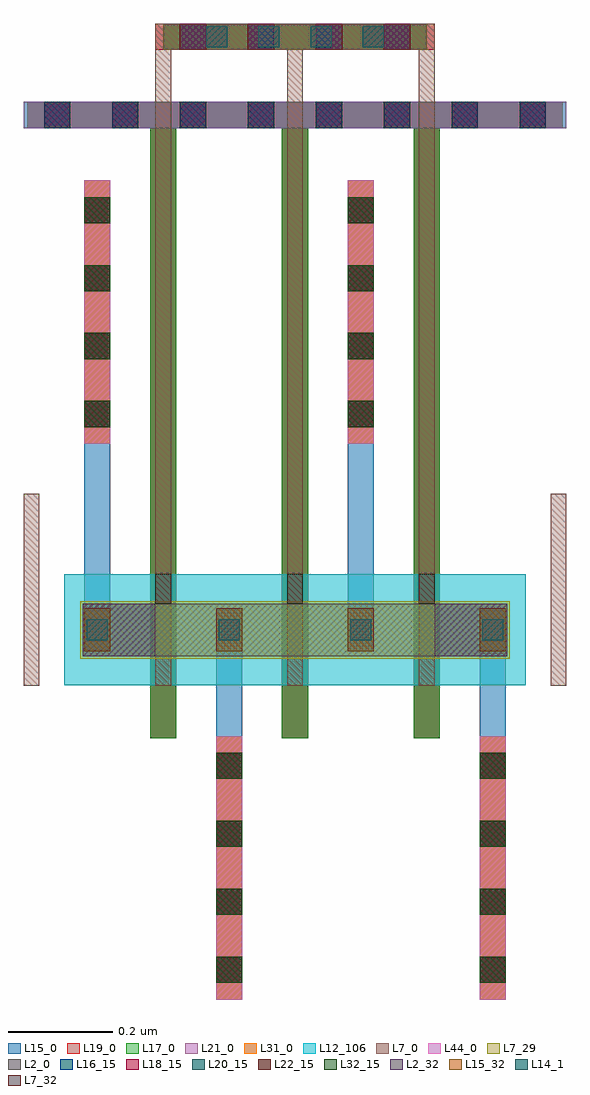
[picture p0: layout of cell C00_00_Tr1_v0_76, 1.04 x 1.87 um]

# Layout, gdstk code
import gdstk
lib = gdstk.Library(unit=1e-6, precision=1e-09)
def R(c, l, rs):  # rectangles x0, y0, x1, y1
    for r in rs: c.add(gdstk.rectangle(r[:2], r[2:], *l))
def A(c, l, x, y, w, h, nx, ny, dx, dy):  # array of equal rectangles
    R(c, l, [(x+i*dx, y+j*dy, x+i*dx+w, y+j*dy+h) for i in range(nx) for j in range(ny)])
L2_0 = (2, 0)
L2_32 = (2, 32)
L7_0 = (7, 0)
L7_29 = (7, 29)
L7_32 = (7, 32)
L12_106 = (12, 106)
L14_1 = (14, 1)
L15_0 = (15, 0)
L15_32 = (15, 32)
L16_15 = (16, 15)
L17_0 = (17, 0)
L18_15 = (18, 15)
L19_0 = (19, 0)
L20_15 = (20, 15)
L21_0 = (21, 0)
L22_15 = (22, 15)
L31_0 = (31, 0)
L32_15 = (32, 15)
L44_0 = (44, 0)

c00_00_tr1_v0_76_srf_nmo = lib.new_cell('C00_00_Tr1_v0_76:SRF_Nmos')
R(c00_00_tr1_v0_76_srf_nmo, L2_0, [(-0.139,0.057,0.673,0.157)])
R(c00_00_tr1_v0_76_srf_nmo, L2_32, [(-0.139,0.057,0,0.157), (0.534,0.057,0.673,0.157)])
A(c00_00_tr1_v0_76_srf_nmo, L7_0, 0, 0, 0.03, 0.214, 3, 1, 0.252, 0)
R(c00_00_tr1_v0_76_srf_nmo, L7_0, [(-0.252,0,-0.222,0.367), (0.756,0,0.786,0.367)])
R(c00_00_tr1_v0_76_srf_nmo, L7_29, [(-0.144,0.052,0.678,0.162)])
A(c00_00_tr1_v0_76_srf_nmo, L7_32, 0, 0.157, 0.03, 0.057, 3, 1, 0.252, 0)
R(c00_00_tr1_v0_76_srf_nmo, L12_106, [(-0.174,0.001,0.708,0.213)])
A(c00_00_tr1_v0_76_srf_nmo, L14_1, -0.131, 0.087, 0.04, 0.04, 4, 1, 0.252, 0)
R(c00_00_tr1_v0_76_srf_nmo, L15_0, [(-0.136,0.066,-0.086,0.148), (-0.136,0.066,-0.086,0.148), (0.116,0.066,0.166,0.148), (0.116,0.066,0.166,0.148), (0.368,0.066,0.418,0.148), (0.368,0.066,0.418,0.148), (0.62,0.066,0.67,0.148), (0.62,0.066,0.67,0.148)])
A(c00_00_tr1_v0_76_srf_nmo, L15_32, -0.136, 0.066, 0.05, 0.082, 4, 1, 0.252, 0)

c00_00_tr1_v0_76_srf_tr1 = lib.new_cell('C00_00_Tr1_v0_76:SRF_Tr1_Source_ViaM1Mx:SRF_ViaM1M2')
R(c00_00_tr1_v0_76_srf_tr1, L15_0, [(0,-0.422,0.05,0.082)])
A(c00_00_tr1_v0_76_srf_tr1, L16_15, 0, -0.39, 0.05, 0.05, 1, 4, 0, 0.13)
R(c00_00_tr1_v0_76_srf_tr1, L17_0, [(0,-0.422,0.05,0.082)])

c_c00_00_tr1_v0_76_srf_tr1 = lib.new_cell('C00_00_Tr1_v0_76:SRF_Tr1_Source_ViaM1Mx:SRF_ViaM2M3')
R(c_c00_00_tr1_v0_76_srf_tr1, L17_0, [(0,-0.422,0.05,0.082)])
A(c_c00_00_tr1_v0_76_srf_tr1, L18_15, 0, -0.39, 0.05, 0.05, 1, 4, 0, 0.13)
R(c_c00_00_tr1_v0_76_srf_tr1, L19_0, [(0,-0.422,0.05,0.082)])

c_c00_00_tr1_v0_76_srf_tr1_ = lib.new_cell('C00_00_Tr1_v0_76:SRF_Tr1_Source_ViaM1Mx:SRF_ViaM3M4')
R(c_c00_00_tr1_v0_76_srf_tr1_, L19_0, [(0,-0.422,0.05,0.082)])
A(c_c00_00_tr1_v0_76_srf_tr1_, L20_15, 0, -0.39, 0.05, 0.05, 1, 4, 0, 0.13)
R(c_c00_00_tr1_v0_76_srf_tr1_, L21_0, [(0,-0.422,0.05,0.082)])

c_c00_00_tr1_v0_76_srf_tr1__ = lib.new_cell('C00_00_Tr1_v0_76:SRF_Tr1_Source_ViaM1Mx:SRF_ViaM4M5')
R(c_c00_00_tr1_v0_76_srf_tr1__, L21_0, [(0,-0.422,0.05,0.082)])
A(c_c00_00_tr1_v0_76_srf_tr1__, L22_15, 0, -0.39, 0.05, 0.05, 1, 4, 0, 0.13)
R(c_c00_00_tr1_v0_76_srf_tr1__, L31_0, [(0,-0.422,0.05,0.082)])

c_c00_00_tr1_v0_76_srf_tr1___ = lib.new_cell('C00_00_Tr1_v0_76:SRF_Tr1_Source_ViaM1Mx:SRF_ViaM5M6')
R(c_c00_00_tr1_v0_76_srf_tr1___, L31_0, [(0,-0.422,0.05,0.082)])
A(c_c00_00_tr1_v0_76_srf_tr1___, L32_15, 0, -0.39, 0.05, 0.05, 1, 4, 0, 0.13)
R(c_c00_00_tr1_v0_76_srf_tr1___, L44_0, [(0,-0.422,0.05,0.082)])

c_c00_00_tr1_v0_76_srf_tr1____ = lib.new_cell('C00_00_Tr1_v0_76:SRF_Tr1_Source_ViaM1Mx')
c_c00_00_tr1_v0_76_srf_tr1____.add(gdstk.Reference(c00_00_tr1_v0_76_srf_tr1, (-0.025,0.17)))
c_c00_00_tr1_v0_76_srf_tr1____.add(gdstk.Reference(c_c00_00_tr1_v0_76_srf_tr1, (-0.025,0.17)))
c_c00_00_tr1_v0_76_srf_tr1____.add(gdstk.Reference(c_c00_00_tr1_v0_76_srf_tr1_, (-0.025,0.17)))
c_c00_00_tr1_v0_76_srf_tr1____.add(gdstk.Reference(c_c00_00_tr1_v0_76_srf_tr1__, (-0.025,0.17)))
c_c00_00_tr1_v0_76_srf_tr1____.add(gdstk.Reference(c_c00_00_tr1_v0_76_srf_tr1___, (-0.025,0.17)))

c00_00_tr1_v0_76_srf_gro = lib.new_cell('C00_00_Tr1_v0_76:SRF_Ground_ViaM1Mx:SRF_ViaM1M2')
R(c00_00_tr1_v0_76_srf_gro, L15_0, [(-0.032,0,0.992,0.05)])
A(c00_00_tr1_v0_76_srf_gro, L16_15, 0, 0, 0.05, 0.05, 8, 1, 0.13, 0)
R(c00_00_tr1_v0_76_srf_gro, L17_0, [(-0.032,0,0.992,0.05)])

c_c00_00_tr1_v0_76_srf_gro = lib.new_cell('C00_00_Tr1_v0_76:SRF_Ground_ViaM1Mx:SRF_ViaM2M3')
R(c_c00_00_tr1_v0_76_srf_gro, L17_0, [(-0.032,0,0.992,0.05)])
A(c_c00_00_tr1_v0_76_srf_gro, L18_15, 0, 0, 0.05, 0.05, 8, 1, 0.13, 0)
R(c_c00_00_tr1_v0_76_srf_gro, L19_0, [(-0.032,0,0.992,0.05)])

c_c00_00_tr1_v0_76_srf_gro_ = lib.new_cell('C00_00_Tr1_v0_76:SRF_Ground_ViaM1Mx:SRF_ViaM3M4')
R(c_c00_00_tr1_v0_76_srf_gro_, L19_0, [(-0.032,0,0.992,0.05)])
A(c_c00_00_tr1_v0_76_srf_gro_, L20_15, 0, 0, 0.05, 0.05, 8, 1, 0.13, 0)
R(c_c00_00_tr1_v0_76_srf_gro_, L21_0, [(-0.032,0,0.992,0.05)])

c_c00_00_tr1_v0_76_srf_gro__ = lib.new_cell('C00_00_Tr1_v0_76:SRF_Ground_ViaM1Mx')
c_c00_00_tr1_v0_76_srf_gro__.add(gdstk.Reference(c00_00_tr1_v0_76_srf_gro, (-0.48,-0.025)))
c_c00_00_tr1_v0_76_srf_gro__.add(gdstk.Reference(c_c00_00_tr1_v0_76_srf_gro, (-0.48,-0.025)))
c_c00_00_tr1_v0_76_srf_gro__.add(gdstk.Reference(c_c00_00_tr1_v0_76_srf_gro_, (-0.48,-0.025)))

c00_00_tr1_v0_76_srf_gat = lib.new_cell('C00_00_Tr1_v0_76:SRF_Gate_ViaM0M3:SRF_ViaM0M1')
R(c00_00_tr1_v0_76_srf_gat, L7_0, [(-0.01,-0.004,0.35,0.044)])
A(c00_00_tr1_v0_76_srf_gat, L14_1, 0, 0, 0.04, 0.04, 4, 1, 0.1, 0)
R(c00_00_tr1_v0_76_srf_gat, L15_0, [(-0.021,-0.005,0.361,0.045)])

c_c00_00_tr1_v0_76_srf_gat = lib.new_cell('C00_00_Tr1_v0_76:SRF_Gate_ViaM0M3:SRF_ViaM1M2')
R(c_c00_00_tr1_v0_76_srf_gat, L15_0, [(-0.032,0,0.472,0.05)])
A(c_c00_00_tr1_v0_76_srf_gat, L16_15, 0, 0, 0.05, 0.05, 4, 1, 0.13, 0)
R(c_c00_00_tr1_v0_76_srf_gat, L17_0, [(-0.032,0,0.472,0.05)])

c_c00_00_tr1_v0_76_srf_gat_ = lib.new_cell('C00_00_Tr1_v0_76:SRF_Gate_ViaM0M3:SRF_ViaM2M3')
R(c_c00_00_tr1_v0_76_srf_gat_, L17_0, [(-0.032,0,0.472,0.05)])
A(c_c00_00_tr1_v0_76_srf_gat_, L18_15, 0, 0, 0.05, 0.05, 4, 1, 0.13, 0)
R(c_c00_00_tr1_v0_76_srf_gat_, L19_0, [(-0.032,0,0.472,0.05)])

c_c00_00_tr1_v0_76_srf_gat__ = lib.new_cell('C00_00_Tr1_v0_76:SRF_Gate_ViaM0M3')
c_c00_00_tr1_v0_76_srf_gat__.add(gdstk.Reference(c00_00_tr1_v0_76_srf_gat, (-0.17,-0.02)))
c_c00_00_tr1_v0_76_srf_gat__.add(gdstk.Reference(c_c00_00_tr1_v0_76_srf_gat, (-0.22,-0.025)))
c_c00_00_tr1_v0_76_srf_gat__.add(gdstk.Reference(c_c00_00_tr1_v0_76_srf_gat_, (-0.22,-0.025)))

c_c00_00_tr1_v0_76_srf_tr1_____ = lib.new_cell('C00_00_Tr1_v0_76:SRF_Tr1_Drain_ViaM1Mx:SRF_ViaM1M2')
R(c_c00_00_tr1_v0_76_srf_tr1_____, L15_0, [(0,-0.422,0.05,0.082)])
A(c_c00_00_tr1_v0_76_srf_tr1_____, L16_15, 0, -0.39, 0.05, 0.05, 1, 4, 0, 0.13)
R(c_c00_00_tr1_v0_76_srf_tr1_____, L17_0, [(0,-0.422,0.05,0.082)])

c_c00_00_tr1_v0_76_srf_tr1______ = lib.new_cell('C00_00_Tr1_v0_76:SRF_Tr1_Drain_ViaM1Mx:SRF_ViaM2M3')
R(c_c00_00_tr1_v0_76_srf_tr1______, L17_0, [(0,-0.422,0.05,0.082)])
A(c_c00_00_tr1_v0_76_srf_tr1______, L18_15, 0, -0.39, 0.05, 0.05, 1, 4, 0, 0.13)
R(c_c00_00_tr1_v0_76_srf_tr1______, L19_0, [(0,-0.422,0.05,0.082)])

c_c00_00_tr1_v0_76_srf_tr1_______ = lib.new_cell('C00_00_Tr1_v0_76:SRF_Tr1_Drain_ViaM1Mx:SRF_ViaM3M4')
R(c_c00_00_tr1_v0_76_srf_tr1_______, L19_0, [(0,-0.422,0.05,0.082)])
A(c_c00_00_tr1_v0_76_srf_tr1_______, L20_15, 0, -0.39, 0.05, 0.05, 1, 4, 0, 0.13)
R(c_c00_00_tr1_v0_76_srf_tr1_______, L21_0, [(0,-0.422,0.05,0.082)])

c_c00_00_tr1_v0_76_srf_tr1________ = lib.new_cell('C00_00_Tr1_v0_76:SRF_Tr1_Drain_ViaM1Mx:SRF_ViaM4M5')
R(c_c00_00_tr1_v0_76_srf_tr1________, L21_0, [(0,-0.422,0.05,0.082)])
A(c_c00_00_tr1_v0_76_srf_tr1________, L22_15, 0, -0.39, 0.05, 0.05, 1, 4, 0, 0.13)
R(c_c00_00_tr1_v0_76_srf_tr1________, L31_0, [(0,-0.422,0.05,0.082)])

c_c00_00_tr1_v0_76_srf_tr1_________ = lib.new_cell('C00_00_Tr1_v0_76:SRF_Tr1_Drain_ViaM1Mx:SRF_ViaM5M6')
R(c_c00_00_tr1_v0_76_srf_tr1_________, L31_0, [(0,-0.422,0.05,0.082)])
A(c_c00_00_tr1_v0_76_srf_tr1_________, L32_15, 0, -0.39, 0.05, 0.05, 1, 4, 0, 0.13)
R(c_c00_00_tr1_v0_76_srf_tr1_________, L44_0, [(0,-0.422,0.05,0.082)])

c_c00_00_tr1_v0_76_srf_tr1__________ = lib.new_cell('C00_00_Tr1_v0_76:SRF_Tr1_Drain_ViaM1Mx')
c_c00_00_tr1_v0_76_srf_tr1__________.add(gdstk.Reference(c_c00_00_tr1_v0_76_srf_tr1_____, (-0.025,0.17)))
c_c00_00_tr1_v0_76_srf_tr1__________.add(gdstk.Reference(c_c00_00_tr1_v0_76_srf_tr1______, (-0.025,0.17)))
c_c00_00_tr1_v0_76_srf_tr1__________.add(gdstk.Reference(c_c00_00_tr1_v0_76_srf_tr1_______, (-0.025,0.17)))
c_c00_00_tr1_v0_76_srf_tr1__________.add(gdstk.Reference(c_c00_00_tr1_v0_76_srf_tr1________, (-0.025,0.17)))
c_c00_00_tr1_v0_76_srf_tr1__________.add(gdstk.Reference(c_c00_00_tr1_v0_76_srf_tr1_________, (-0.025,0.17)))

c00_00_tr1_v0_76 = lib.new_cell('C00_00_Tr1_v0_76')
A(c00_00_tr1_v0_76, L7_0, 0, 0.214, 0.03, 1.003, 3, 1, 0.252, 0)
R(c00_00_tr1_v0_76, L7_0, [(0,1.217,0.534,1.267)])
A(c00_00_tr1_v0_76, L15_0, -0.01, -0.1, 0.05, 1.167, 3, 1, 0.252, 0)
R(c00_00_tr1_v0_76, L15_0, [(0.116,-0.6,0.166,0.066), (0.62,-0.6,0.67,0.066), (-0.136,0.148,-0.086,0.967), (0.368,0.148,0.418,0.967), (-0.252,1.067,0.786,1.117)])
A(c00_00_tr1_v0_76, L17_0, -0.01, -0.1, 0.05, 1.167, 3, 1, 0.252, 0)
A(c00_00_tr1_v0_76, L19_0, -0.01, -0.1, 0.05, 1.167, 3, 1, 0.252, 0)
R(c00_00_tr1_v0_76, L19_0, [(0,1.217,0.534,1.267)])
R(c00_00_tr1_v0_76, L21_0, [(-0.252,1.067,0.786,1.117)])
c00_00_tr1_v0_76.add(gdstk.Reference(c00_00_tr1_v0_76_srf_nmo, (0,0)))
c00_00_tr1_v0_76.add(gdstk.Reference(c_c00_00_tr1_v0_76_srf_tr1____, (-0.111,0.715)))
c00_00_tr1_v0_76.add(gdstk.Reference(c_c00_00_tr1_v0_76_srf_tr1____, (0.393,0.715)))
c00_00_tr1_v0_76.add(gdstk.Reference(c_c00_00_tr1_v0_76_srf_gro__, (0.267,1.092)))
c00_00_tr1_v0_76.add(gdstk.Reference(c_c00_00_tr1_v0_76_srf_gat__, (0.267,1.242)))
c00_00_tr1_v0_76.add(gdstk.Reference(c_c00_00_tr1_v0_76_srf_tr1__________, (0.141,-0.348)))
c00_00_tr1_v0_76.add(gdstk.Reference(c_c00_00_tr1_v0_76_srf_tr1__________, (0.645,-0.348)))

lib.write_gds('C00_00_Tr1_v0_76.gds')
